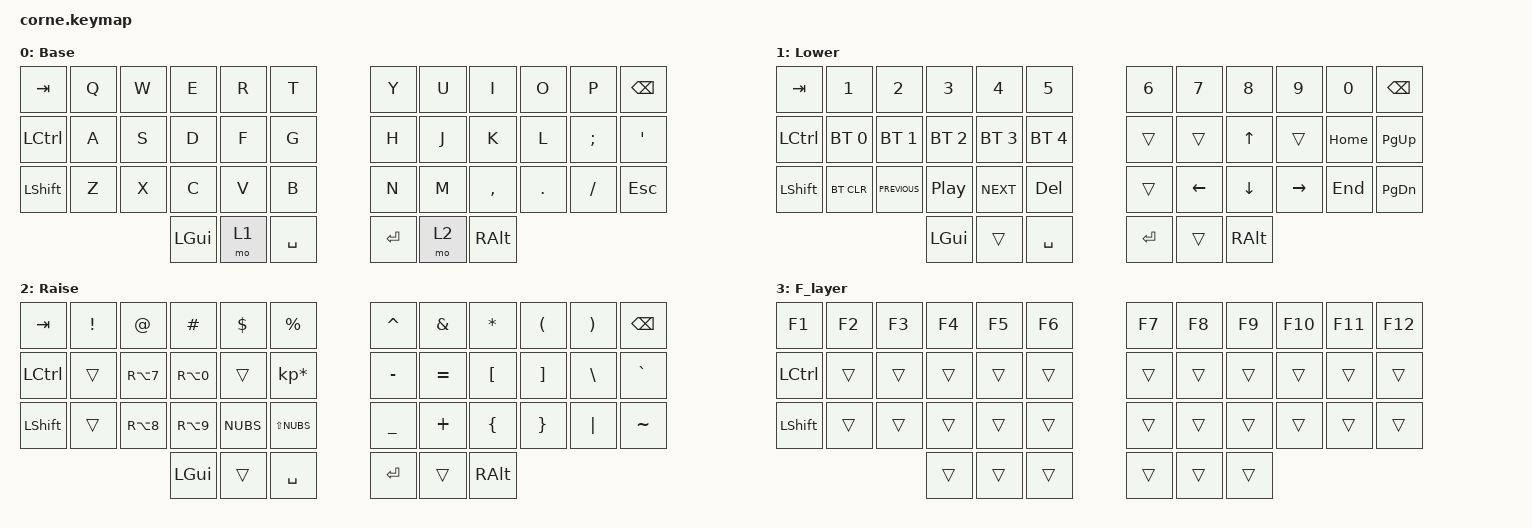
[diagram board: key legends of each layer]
/*
 * Copyright (c) 2020 The ZMK Contributors
 *
 * SPDX-License-Identifier: MIT
 */

#include <behaviors.dtsi>
#include <dt-bindings/zmk/bt.h>
#include <dt-bindings/zmk/keys.h>

/ {
    combos {
        compatible = "zmk,combos";

        Caps {
            bindings = <&kp CAPS>;
            key-positions = <38 39>;
        };

        F_Layer {
            bindings = <&mo 3>;
            key-positions = <37 40>;
        };

        PrinsSC {
            bindings = <&kp PRINTSCREEN>;
            key-positions = <24 35>;
        };
    };

    keymap {
        compatible = "zmk,keymap";

        Default_layer {
            // -----------------------------------------------------------------------------------------
            // |  TAB |  Q  |  W  |  E  |  R  |  T  |   |  Y  |  U   |  I  |  O  |  P  | BKSP |
            // | CTRL |  A  |  S  |  D  |  F  |  G  |   |  H  |  J   |  K  |  L  |  ;  |  '   |
            // | SHFT |  Z  |  X  |  C  |  V  |  B  |   |  N  |  M   |  ,  |  .  |  /  | ESC  |
            //                    | GUI | LWR | SPC |   | ENT | RSE  | ALT |

            display-name = "Base";
            bindings = <
&kp TAB           &kp Q  &kp W  &kp E     &kp R  &kp T        &kp Y    &kp U  &kp I      &kp O    &kp P     &kp BSPC
&kp LEFT_CONTROL  &kp A  &kp S  &kp D     &kp F  &kp G        &kp H    &kp J  &kp K      &kp L    &kp SEMI  &kp SQT
&kp LEFT_SHIFT    &kp Z  &kp X  &kp C     &kp V  &kp B        &kp N    &kp M  &kp COMMA  &kp DOT  &kp FSLH  &kp ESC
                                &kp LGUI  &mo 1  &kp SPACE    &kp RET  &mo 2  &kp RALT
            >;
        };

        lower_layer {
            // -----------------------------------------------------------------------------------------
            // |  TAB |  1  |  2  |  3  |  4  |  5  |   |  6  |  7  |  8  |  9  |  0  | BKSP |
            // | BTCLR| BT1 | BT2 | BT3 | BT4 | BT5 |   | LFT | DWN |  UP | RGT |     |      |
            // | SHFT |     |     |     |     |     |   |     |     |     |     |     |      |
            //                    | GUI |     | SPC |   | ENT |     | ALT |

            display-name = "Lower";
            bindings = <
&kp TAB    &kp N1        &kp N2          &kp N3            &kp N4        &kp N5          &kp N6   &kp N7          &kp N8    &kp N9     &kp N0    &kp BSPC
&kp LCTRL  &bt BT_SEL 0  &bt BT_SEL 1    &bt BT_SEL 2      &bt BT_SEL 3  &bt BT_SEL 4    &trans   &trans          &kp UP    &trans     &kp HOME  &kp PAGE_UP
&kp LSHFT  &bt BT_CLR    &kp C_PREVIOUS  &kp C_PLAY_PAUSE  &kp C_NEXT    &kp DEL         &trans   &kp LEFT_ARROW  &kp DOWN  &kp RIGHT  &kp END   &kp PAGE_DOWN
                                         &kp LGUI          &trans        &kp SPACE       &kp RET  &trans          &kp RALT
            >;
        };

        raise_layer {
            // -----------------------------------------------------------------------------------------
            // |  TAB |  !  |  @  |  #  |  $  |  %  |   |  ^  |  &  |  *  |  (  |  )  | BKSP |
            // | CTRL |     |     |     |     |     |   |  -  |  =  |  [  |  ]  |  \  |  `   |
            // | SHFT |     |     |     |     |     |   |  _  |  +  |  {  |  }  | "|" |  ~   |
            //                    | GUI |     | SPC |   | ENT |     | ALT |

            display-name = "Raise";
            bindings = <
&kp TAB    &kp EXCL  &kp AT            &kp HASH          &kp DLLR  &kp PRCNT          &kp CARET  &kp AMPS   &kp STAR  &kp LPAR  &kp RPAR  &kp BSPC
&kp LCTRL  &trans    &kp RA(NUMBER_7)  &kp RA(NUMBER_0)  &trans    &kp KP_MULTIPLY    &kp MINUS  &kp EQUAL  &kp LBKT  &kp RBKT  &kp BSLH  &kp GRAVE
&kp LSHFT  &trans    &kp RA(NUMBER_8)  &kp RA(NUMBER_9)  &kp NUBS  &kp LS(NUBS)       &kp UNDER  &kp PLUS   &kp LBRC  &kp RBRC  &kp PIPE  &kp TILDE
                                       &kp LGUI          &trans    &kp SPACE          &kp RET    &trans     &kp RALT
            >;
        };

        F_layer {
            bindings = <
&kp F1     &kp F2  &kp F3  &kp F4  &kp F5  &kp F6    &kp F7  &kp F8  &kp F9  &kp F10  &kp F11  &kp F12
&kp LCTRL  &trans  &trans  &trans  &trans  &trans    &trans  &trans  &trans  &trans   &trans   &trans
&kp LSHFT  &trans  &trans  &trans  &trans  &trans    &trans  &trans  &trans  &trans   &trans   &trans
                           &trans  &trans  &trans    &trans  &trans  &trans
            >;
        };
    };
};
